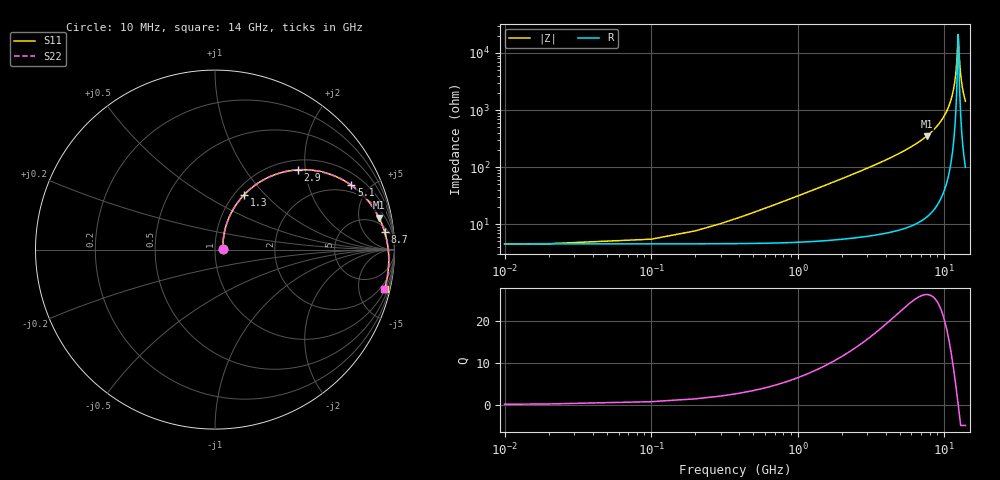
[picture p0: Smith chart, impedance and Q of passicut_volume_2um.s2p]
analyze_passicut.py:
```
#!/usr/bin/env python
""""Passicut" workaround stackup (SG13G2_200um_passicut.xml) for the L6n2
inductor: instead of deriving explicit 3D conformal SiO2-sidewall geometry
(the conformal_volume combination in analyze_comparison.py, expensive: 2.86M
DOF / 42 GB / 1h6m at 1 um), the SiO2 dielectric block is simply shortened by
TopMetal2's own thickness (Thickness="=15.7303-3"), so SiO2 now ends 1.5 um
above the bottom of TopMetal2 with the 0.4 um Passivation on top - correct in
the "valleys" between traces, no conformal coating on the metal itself. A 1D
stackup change, no derived-layer booleans, no extra mesh-refinement geometry. filled_metals kept throughout
(surface impedance not tried here - see analyze_comparison.py's finding that
conductor model, not stackup, controls the Q/R match).

Compares against the two most relevant results from the main study
(results/snp/): conformal_volume_1um (previous best match, but the expensive
3D-conformal geometry) and planar_volume_1um (previous cheapest, but poor
SRF match) - both re-used from results/snp/, not re-simulated.

Reads de-embedded 2-port Touchstone files, computes differential L/Q/Rseries
(same convention as analyze_comparison.py: Zdiff = Z11-Z12-Z21+Z22), writes
one 3-panel (L/Q/R) comparison plot, a cost table entry, and an accuracy
table entry.
"""
import csv
import math
import os
import re
import subprocess
import sys

import numpy as np
import skrf as rf
import matplotlib
matplotlib.use("Agg")
import matplotlib.pyplot as plt

HERE = os.path.dirname(os.path.abspath(__file__))
SNP_DIR = os.path.join(HERE, "snp")
PLOT_DIR = os.path.join(HERE, "plots")
PALACE_SUMMARY = r"D:\github-claude\gds2palace_ihp_sg13g2\scripts\palace_summary.py"
PASSICUT_PALACE_MODEL_DIR = r"D:\github-claude\gds2palace_ihp_sg13g2\test_data\filled_metals_inductor_L6n2\palace_model"

SERIES = [
    ("measured", "Measured", None, "#333333", "-", 2.2),
    ("conformal_volume_1um", "Conformal + filled_metals, 1 um (best, §3)", None, "#c44e52", "-", 1.4),
    ("planar_volume_1um", "Planar + filled_metals, 1 um (cheapest baseline, §3)", None, "#4c72b0", ":", 1.4),
    ("passicut_volume_5um", "Passicut + filled_metals, 5 um (new)", None, "#55a868", "--", 1.8),
    ("passicut_volume_2um", "Passicut + filled_metals, 2 um (new)", None, "#dd8452", "-", 1.8),
]

PLOT_XLIM_GHZ = (0, 14)
R_YLIM_MAX_OHM = 12
L_EVAL_FREQS_GHZ = [0.1, 4.0, 8.0]  # stays clear of the SRF region (measured SRF ~11.07 GHz)
Q_EVAL_FREQS_GHZ = [1.0, 5.0, 9.0]


def load(fname):
    path = os.path.join(SNP_DIR, fname)
    return rf.Network(path) if os.path.isfile(path) else None


def diff_LQR(nw):
    z = nw.z
    z11, z12, z21, z22 = z[:, 0, 0], z[:, 0, 1], z[:, 1, 0], z[:, 1, 1]
    zdiff = z11 - z12 - z21 + z22
    freq = nw.frequency.f
    omega = freq * 2 * math.pi
    return freq, zdiff.imag / omega, zdiff.imag / zdiff.real, zdiff.real


def value_at_freq(freq, values, freq_hz, tol_hz=0.3e9):
    idx = int(np.argmin(np.abs(freq - freq_hz)))
    if abs(freq[idx] - freq_hz) > tol_hz:
        return None
    return float(values[idx])


def parse_cost(model_dir, pattern):
    result = subprocess.run([sys.executable, PALACE_SUMMARY, model_dir], capture_output=True, text=True)
    text = result.stdout
    blocks = re.split(r"----- (.*?) -----", text)[1:]
    cost = {}
    for i in range(0, len(blocks), 2):
        path, block = blocks[i], blocks[i + 1]
        m = re.search(pattern, path)
        if not m:
            continue
        dof = re.search(r"Degrees of freedom\s*:\s*([\d,]+)", block)
        elems = re.search(r"Mesh elements\s*:\s*([\d,]+)", block)
        time_m = re.search(r"Simulation time\s*:\s*(.+)", block)
        ram_m = re.search(r"Peak RAM\s*:\s*(.+)", block)
        cost[m.group(1)] = {
            "dof": dof.group(1).strip() if dof else "n/a",
            "elements": elems.group(1).strip() if elems else "n/a",
            "time": time_m.group(1).strip() if time_m else "n/a",
            "ram": ram_m.group(1).strip() if ram_m else "n/a",
        }
    return cost


def main():
    os.makedirs(PLOT_DIR, exist_ok=True)

    networks = {}
    fnames = {
        "measured": "measured.s2p",
        "conformal_volume_1um": "conformal_volume_1um.s2p",
        "planar_volume_1um": "planar_volume_1um.s2p",
        "passicut_volume_5um": "passicut_volume_5um.s2p",
        "passicut_volume_2um": "passicut_volume_2um.s2p",
    }
    for key, fname in fnames.items():
        nw = load(fname)
        if nw is None:
            print(f"WARNING: missing {fname}")
            continue
        networks[key] = diff_LQR(nw)

    # ---------------- comparison plot ----------------
    fig, (ax_l, ax_q, ax_r) = plt.subplots(3, 1, figsize=(7.5, 11), sharex=True)
    for key, label, _unused, color, style, lw in SERIES:
        if key not in networks:
            continue
        freq, L, Q, R = networks[key]
        freq_ghz = freq / 1e9
        ax_l.plot(freq_ghz, L * 1e9, color=color, linestyle=style, linewidth=lw, label=label)
        ax_q.plot(freq_ghz, Q, color=color, linestyle=style, linewidth=lw, label=label)
        ax_r.plot(freq_ghz, R, color=color, linestyle=style, linewidth=lw, label=label)

    ax_l.set_ylabel("Diff. inductance L (nH)")
    ax_l.set_title("L6n2: \"passicut\" workaround vs. previous best/cheapest")
    ax_l.grid(True, alpha=0.3)
    ax_l.legend(fontsize=7.5)
    ax_l.set_xlim(*PLOT_XLIM_GHZ)

    ax_q.set_ylabel("Diff. Q factor")
    ax_q.grid(True, alpha=0.3)
    ax_q.legend(fontsize=7.5)
    ax_q.set_xlim(*PLOT_XLIM_GHZ)
    ax_q.set_ylim(bottom=0)

    ax_r.set_ylabel("Diff. series resistance R (Ohm)")
    ax_r.set_xlabel("Frequency (GHz)")
    ax_r.grid(True, alpha=0.3)
    ax_r.legend(fontsize=7.5)
    ax_r.set_xlim(*PLOT_XLIM_GHZ)
    ax_r.set_ylim(0, R_YLIM_MAX_OHM)

    fig.tight_layout()
    out_path = os.path.join(PLOT_DIR, "LQR_passicut_comparison.png")
    fig.savefig(out_path, dpi=150)
    plt.close(fig)
    print(f"Wrote plot: {out_path}")

    # ---------------- cost table ----------------
    passicut_cost = parse_cost(PASSICUT_PALACE_MODEL_DIR, r"palace_L6n2_passicut_volume_(\d)um_data")
    cost_csv = os.path.join(HERE, "passicut_cost_table.csv")
    with open(cost_csv, "w", newline="", encoding="utf-8") as f:
        writer = csv.writer(f)
        writer.writerow(["Variant", "Mesh", "DOF", "Mesh elements", "Solve time", "Peak RAM"])
        for mesh in ("5", "2"):
            c = passicut_cost.get(mesh, {})
            writer.writerow([f"passicut + filled_metals", f"{mesh} um",
                              c.get("dof", "n/a"), c.get("elements", "n/a"),
                              c.get("time", "n/a"), c.get("ram", "n/a")])
    print(f"Wrote cost table: {cost_csv}")

    # ---------------- accuracy vs. measurement table ----------------
    # L at L_EVAL_FREQS_GHZ (interpolated - the measured file is log-spaced),
    # Q at Q_EVAL_FREQS_GHZ, one row per quantity/frequency.
    acc_csv = os.path.join(HERE, "passicut_accuracy_table.csv")
    fmt = lambda x, nd=4: f"{x:.{nd}f}" if x is not None else "n/a"
    with open(acc_csv, "w", newline="", encoding="utf-8") as f:
        writer = csv.writer(f)
        writer.writerow(["Variant", "Quantity", "Freq (GHz)", "Sim", "Meas", "Err (%)"])
        mfreq, mL, mQ, _ = networks["measured"]
        for key, label, *_ in SERIES:
            if key == "measured" or key not in networks:
                continue
            freq, L, Q, R = networks[key]
            for g in L_EVAL_FREQS_GHZ:
                L_val = float(np.interp(g * 1e9, freq, L))
                L_meas = float(np.interp(g * 1e9, mfreq, mL))
                L_err = 100.0 * (L_val - L_meas) / L_meas
                writer.writerow([label, "L (nH)", f"{g:g}", fmt(L_val * 1e9), fmt(L_meas * 1e9), fmt(L_err, 2)])
            for g in Q_EVAL_FREQS_GHZ:
                Q_val = value_at_freq(freq, Q, g * 1e9)
                Q_meas = value_at_freq(mfreq, mQ, g * 1e9)
                Q_err = 100.0 * (Q_val - Q_meas) / Q_meas if (Q_val is not None and Q_meas) else None
                writer.writerow([label, "Q", f"{g:g}", fmt(Q_val), fmt(Q_meas), fmt(Q_err, 2)])
    print(f"Wrote accuracy table: {acc_csv}")


if __name__ == "__main__":
    main()
```
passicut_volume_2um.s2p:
! Created with skrf 1.12.0 (http://scikit-rf.org).
# GHz S DB R 50.0
!freq dBS11 angS11 dBS21 angS21 dBS12 angS12 dBS22 angS22
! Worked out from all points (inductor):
!   142 points, 10 MHz to 14 GHz, reference 50 ohm
!   read as one part in series: L = 4.87 nH near 500 MHz
!   highest Q = 26.3 at 7.6 GHz (marker M1), where L = 7.27 nH
!   self-resonance near 12.5 GHz
!   S11 on the Smith chart (normalised r, x): 10 MHz: 1.09, +0.01; 1.3 GHz: 1.11, +0.77; 2.9 GHz: 1.21, +1.82; 5.1 GHz: 1.58, +3.85; 8.7 GHz: 7, +15; 14 GHz: 1.18, -8.59
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0.01  -27.29 3.5  -0.38 -0.2  -0.38 -0.2  -27.29 3.5
1.3  -9.20 62.0  -1.05 -21.8  -1.05 -21.8  -9.20 62.0
2.9  -3.87 43.9  -3.00 -42.8  -3.00 -42.8  -3.87 43.9
5.1  -1.51 25.3  -6.52 -62.4  -6.52 -62.4  -1.51 25.3
7.1  -0.73 13.5  -10.28 -74.4  -10.28 -74.4  -0.74 13.5
7.6  -0.62 11.0  -11.35 -76.9  -11.35 -76.9  -0.62 11.0
8.7  -0.44 6.1  -13.99 -81.7  -13.99 -81.7  -0.45 6.1
11.5  -0.25 -4.7  -26.41 -88.7  -26.41 -88.7  -0.26 -4.7
12.5  -0.24 -8.1  -46.76 -8.9  -46.76 -8.9  -0.25 -8.1
13  -0.25 -9.8  -32.69 69.1  -32.69 69.1  -0.25 -9.8
14  -0.27 -13.0  -23.47 73.2  -23.47 73.2  -0.27 -13.0
